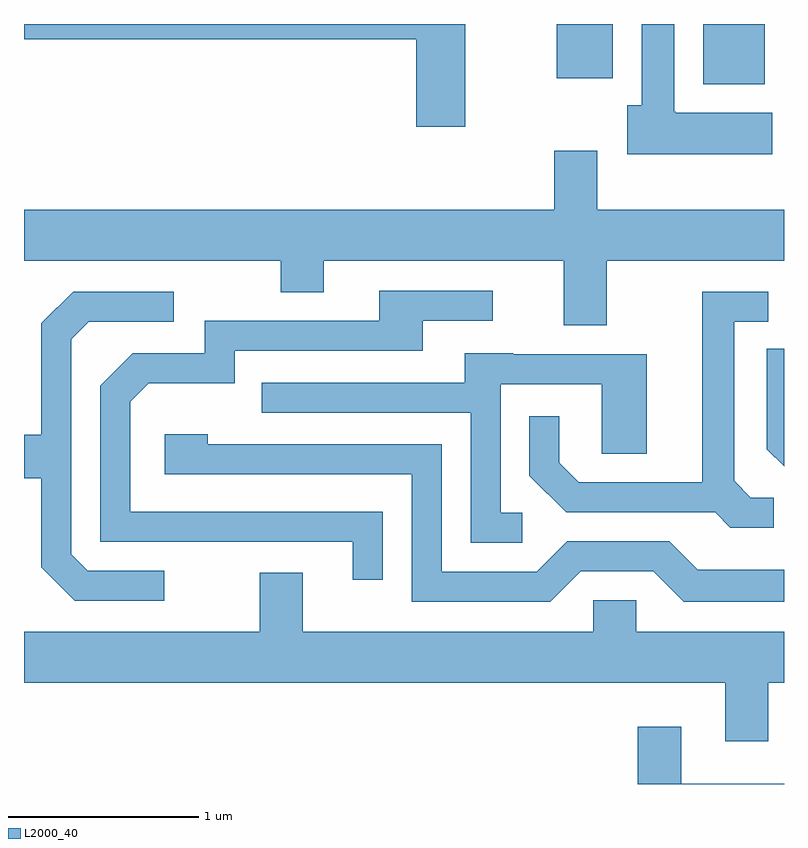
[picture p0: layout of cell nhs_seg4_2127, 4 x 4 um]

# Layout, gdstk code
import gdstk
lib = gdstk.Library(unit=1e-6, precision=1e-09)
def R(c, l, rs):  # rectangles x0, y0, x1, y1
    for r in rs: c.add(gdstk.rectangle(r[:2], r[2:], *l))
def P(c, l, *ps):  # polygons
    for p in ps: c.add(gdstk.Polygon(p, *l))
L2000_40 = (2000, 40)

nhs_seg4_2127 = lib.new_cell('nhs_seg4_2127')
R(nhs_seg4_2127, L2000_40, [(251.186,1295.666,251.509,1295.982), (250.416,1295.696,250.709,1295.982)])
P(nhs_seg4_2127, L2000_40, [(251.549,1295.514),(251.04,1295.514),(251.04,1295.52),(251.034,1295.52),(251.034,1295.982),(250.861,1295.982),(250.861,1295.554),(250.786,1295.554),(250.786,1295.296),(251.549,1295.296)],
  [(249.934,1295.982),(247.611,1295.982),(247.611,1295.901),(249.676,1295.901),(249.676,1295.441),(249.934,1295.441)],
  [(250.679,1294.736),(251.611,1294.736),(251.611,1295.004),(250.629,1295.004),(250.629,1295.314),(250.401,1295.314),(250.401,1295.004),(247.611,1295.004),(247.611,1294.736),(248.961,1294.736),(248.961,1294.571),(249.189,1294.571),(249.189,1294.736),(250.451,1294.736),(250.451,1294.396),(250.679,1294.396)],
  [(249.499,1293.414),(248.169,1293.414),(248.169,1293.994),(248.267,1294.091),(248.719,1294.091),(248.719,1294.261),(249.709,1294.261),(249.709,1294.421),(250.078,1294.421),(250.078,1294.579),(249.481,1294.579),(249.481,1294.419),(248.561,1294.419),(248.561,1294.249),(248.184,1294.249),(248.011,1294.077),(248.011,1293.256),(249.341,1293.256),(249.341,1293.058),(249.499,1293.058)],
  [(251.558,1293.489),(251.437,1293.489),(251.349,1293.577),(251.349,1294.416),(251.528,1294.416),(251.528,1294.574),(251.181,1294.574),(251.181,1293.569),(250.532,1293.569),(250.429,1293.672),(250.429,1293.918),(250.271,1293.918),(250.271,1293.604),(250.464,1293.411),(251.249,1293.411),(251.329,1293.331),(251.558,1293.331)],
  [(248.348,1293.104),(247.947,1293.104),(247.859,1293.192),(247.859,1294.324),(247.952,1294.416),(248.398,1294.416),(248.398,1294.574),(247.869,1294.574),(247.701,1294.407),(247.701,1293.819),(247.611,1293.819),(247.611,1293.591),(247.701,1293.591),(247.701,1293.124),(247.879,1292.946),(248.348,1292.946)],
  [(251.611,1294.273),(251.521,1294.273),(251.521,1293.744),(251.611,1293.654)],
  [(250.233,1293.409),(250.119,1293.409),(250.119,1294.086),(250.651,1294.086),(250.651,1293.721),(250.889,1293.721),(250.889,1294.244),(250.185,1294.244),(250.185,1294.249),(249.931,1294.249),(249.931,1294.094),(248.863,1294.094),(248.863,1293.936),(249.961,1293.936),(249.961,1293.251),(250.233,1293.251)],
  [(250.542,1293.101),(250.924,1293.101),(251.084,1292.941),(251.611,1292.941),(251.611,1293.109),(251.157,1293.109),(251.007,1293.259),(250.469,1293.259),(250.309,1293.099),(249.809,1293.099),(249.809,1293.769),(248.579,1293.769),(248.579,1293.824),(248.351,1293.824),(248.351,1293.611),(249.651,1293.611),(249.651,1292.941),(250.382,1292.941)],
  [(251.529,1292.516),(251.611,1292.516),(251.611,1292.784),(250.834,1292.784),(250.834,1292.949),(250.606,1292.949),(250.606,1292.784),(249.079,1292.784),(249.079,1293.094),(248.851,1293.094),(248.851,1292.784),(247.611,1292.784),(247.611,1292.516),(251.301,1292.516),(251.301,1292.206),(251.529,1292.206)],
  [(251.611,1291.984),(251.069,1291.984),(251.069,1292.284),(250.841,1292.284),(250.841,1291.982),(251.611,1291.982)])

lib.write_gds('nhs_seg4_2127.gds')
